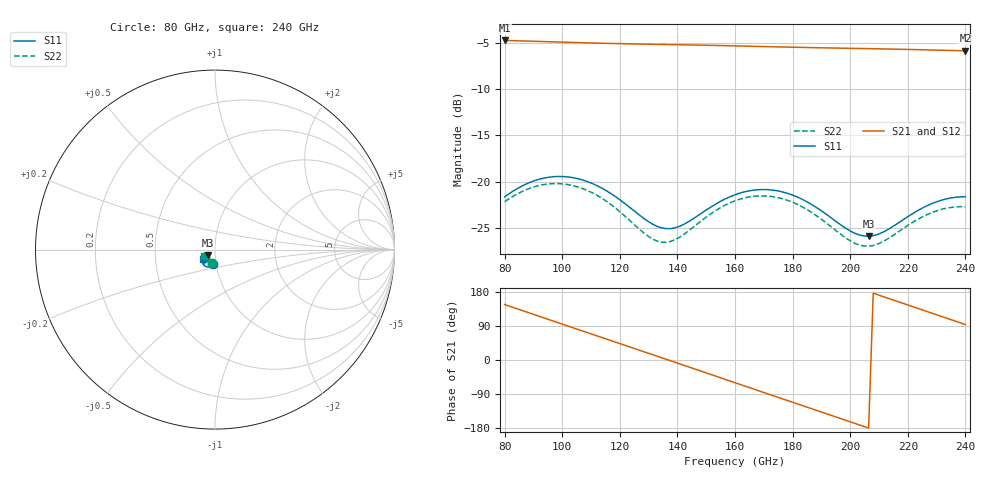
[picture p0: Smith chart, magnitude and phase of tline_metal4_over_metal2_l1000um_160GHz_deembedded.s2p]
! Created with skrf 2.0.1 (http://scikit-rf.org).
# GHz S DB R 50.0
!freq dBS11 angS11 dBS21 angS21 dBS12 angS12 dBS22 angS22
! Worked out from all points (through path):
!   101 points, 80 GHz to 240 GHz, reference 50 ohm
!   highest |S21| = -4.76 dB at 80 GHz (marker M1); lowest = -5.9 dB at 240 GHz (marker M2)
!   group delay of S21, straight-line fit = 7.17 ps
!   lowest |S11| = -25.9 dB at 206.4 GHz (marker M3), VSWR 1.11, Z = 46.1 - j3 ohm
!   |S11| at or under -10 dB: start of sweep to end of sweep
!   |S22| runs from -26.9 to -20.2 dB; largest |S21 - S12| = 9.6e-14
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80  -21.62 -98.1  -4.76 146.4  -4.76 146.4  -22.14 -100.3
88  -20.16 -104.9  -4.83 125.7  -4.83 125.7  -20.79 -107.6
94.4  -19.55 -113.5  -4.89 109.2  -4.89 109.2  -20.26 -116.6
100.8  -19.44 -123.0  -4.95 92.7  -4.95 92.7  -20.25 -126.6
107.2  -19.81 -132.2  -5.01 76.2  -5.01 76.2  -20.74 -136.2
113.6  -20.65 -140.1  -5.06 59.8  -5.06 59.8  -21.74 -144.4
121.6  -22.31 -146.0  -5.12 39.2  -5.12 39.2  -23.65 -150.0
128  -23.87 -144.8  -5.16 22.8  -5.16 22.8  -25.42 -147.5
134.4  -24.96 -137.0  -5.19 6.3  -5.19 6.3  -26.50 -137.1
139.2  -24.96 -129.0  -5.22 -6.1  -5.22 -6.1  -26.24 -127.9
147.2  -23.63 -121.2  -5.26 -26.8  -5.26 -26.8  -24.47 -120.8
160  -21.39 -126.8  -5.35 -59.9  -5.35 -59.9  -22.05 -129.3
166.4  -20.90 -133.6  -5.39 -76.4  -5.39 -76.4  -21.57 -137.3
172.8  -20.88 -141.2  -5.44 -93.0  -5.44 -93.0  -21.59 -145.8
179.2  -21.34 -148.3  -5.48 -109.5  -5.48 -109.5  -22.11 -153.8
187.2  -22.56 -154.7  -5.54 -130.1  -5.54 -130.1  -23.42 -161.1
196.8  -24.66 -154.1  -5.59 -154.8  -5.59 -154.8  -25.68 -160.9
206.4  -25.87 -140.5  -5.65 -179.6  -5.65 -179.6  -26.94 -146.9
214.4  -24.90 -129.3  -5.69 159.7  -5.69 159.7  -25.88 -135.9
227.2  -22.50 -129.4  -5.78 126.6  -5.78 126.6  -23.46 -137.7
233.6  -21.83 -134.5  -5.83 110.1  -5.83 110.1  -22.83 -143.6
240  -21.60 -140.5  -5.88 93.6  -5.88 93.6  -22.69 -150.4
